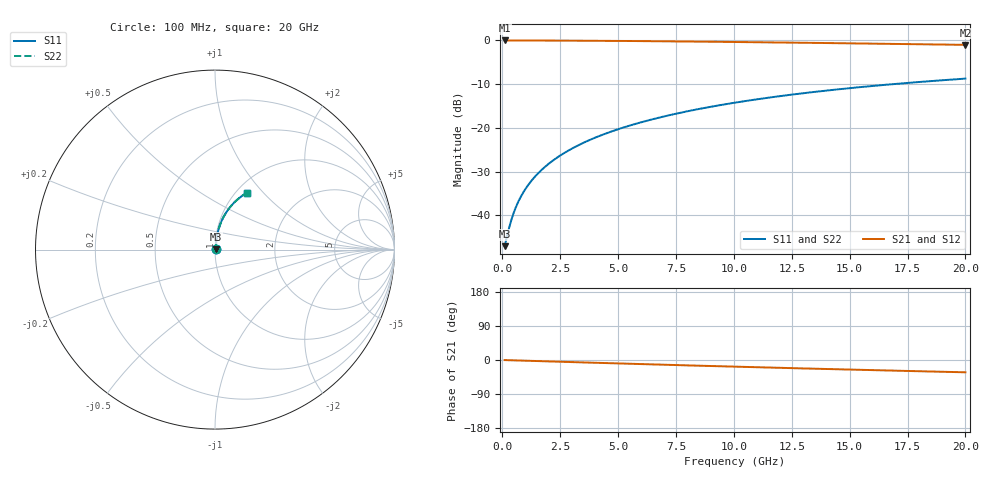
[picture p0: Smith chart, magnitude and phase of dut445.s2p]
! Touchstone file exported from HFSS 2024.1.0
!  File:  C:/UserFiles/LocalFiles/RDL_TSV_Batchsim/temp_RDL_bottom_445_1779684792.aedt
!  Generated:  12:56:15 PM May 25, 2026
!  Design:  RDL_bottom
!  Project:  temp_RDL_bottom_445_1779684792
!  Setup:  Setup1
!  Solution:  Sweep
! Variables:
!  dtsv = 10.80580581um
!  hbump = 3um
!  htsv = 57.97um
!  ldown = 418.46um
!  lrdl = 100um
!  p = 40
!  p1 = 43.15um
!  rhole = 1um
!  t = 450um
!  tdown = 2.71um
!  trdl = 3.915915916um
!  wdown = 14.41um
!  wrdl = 20um
# GHz S MA R 50.000000
! Terminal data exported
! Port[1] = RDL1_T1
! Port[2] = RDL1_T2
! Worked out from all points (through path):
!   200 points, 100 MHz to 20 GHz, reference 50 ohm
!   highest |S21| = -0.03 dB at 100 MHz (marker M1); lowest = -1.0 dB at 20 GHz (marker M2)
!   group delay of S21, straight-line fit = 4.5 ps
!   lowest |S11| = -47.0 dB at 100 MHz (marker M3), VSWR 1.01, Z = 50.4 + j0.205 ohm
!   |S11| at or under -10 dB: start of sweep to 16.9 GHz
!   |S22| runs from -47.0 to -8.8 dB; largest |S21 - S12| = 2.6e-15
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0.1  0.004457 27.1  0.996 -0.2  0.996 -0.2  0.004457 27.1
! Gamma 0 0 0 0
! Port Impedance 50 0 50 0
0.3  0.007312 55.7  0.9959 -0.6  0.9959 -0.6  0.007312 55.7
0.4  0.009055 62.1  0.9957 -0.8  0.9957 -0.8  0.009055 62.1
0.5  0.01086 66.3  0.9956 -0.9  0.9956 -0.9  0.01086 66.3
0.6  0.01268 69.3  0.9955 -1.1  0.9955 -1.1  0.01268 69.3
0.7  0.01452 71.5  0.9953 -1.3  0.9953 -1.3  0.01452 71.5
0.9  0.01821 74.6  0.9951 -1.7  0.9951 -1.7  0.01821 74.6
1.2  0.02379 77.3  0.9947 -2.2  0.9947 -2.2  0.02379 77.3
1.4  0.02752 78.5  0.9943 -2.6  0.9943 -2.6  0.02752 78.5
1.7  0.03316 79.8  0.9939 -3.1  0.9939 -3.1  0.03316 79.8
2.2  0.04261 80.9  0.9929 -4.1  0.9929 -4.1  0.04261 80.9
2.8  0.05405 81.5  0.9914 -5.1  0.9914 -5.1  0.05405 81.5
3.5  0.06747 81.7  0.9894 -6.4  0.9894 -6.4  0.06747 81.7
4.2  0.08098 81.4  0.987 -7.7  0.987 -7.7  0.08098 81.4
5  0.09648 80.9  0.9839 -9.1  0.9839 -9.1  0.09648 80.9
5.9  0.114 80.1  0.9799 -10.6  0.9799 -10.6  0.114 80.1
6.8  0.1315 79.1  0.9755 -12.2  0.9755 -12.2  0.1315 79.1
8.4  0.1625 77.1  0.9668 -14.9  0.9668 -14.9  0.1625 77.1
10.1  0.195 74.8  0.9566 -17.7  0.9566 -17.7  0.195 74.8
13.4  0.256 70.0  0.9349 -22.9  0.9349 -22.9  0.256 70.0
16.7  0.3129 65.2  0.9115 -27.8  0.9115 -27.8  0.3129 65.2
20  0.3651 60.6  0.8872 -32.5  0.8872 -32.5  0.3651 60.6
